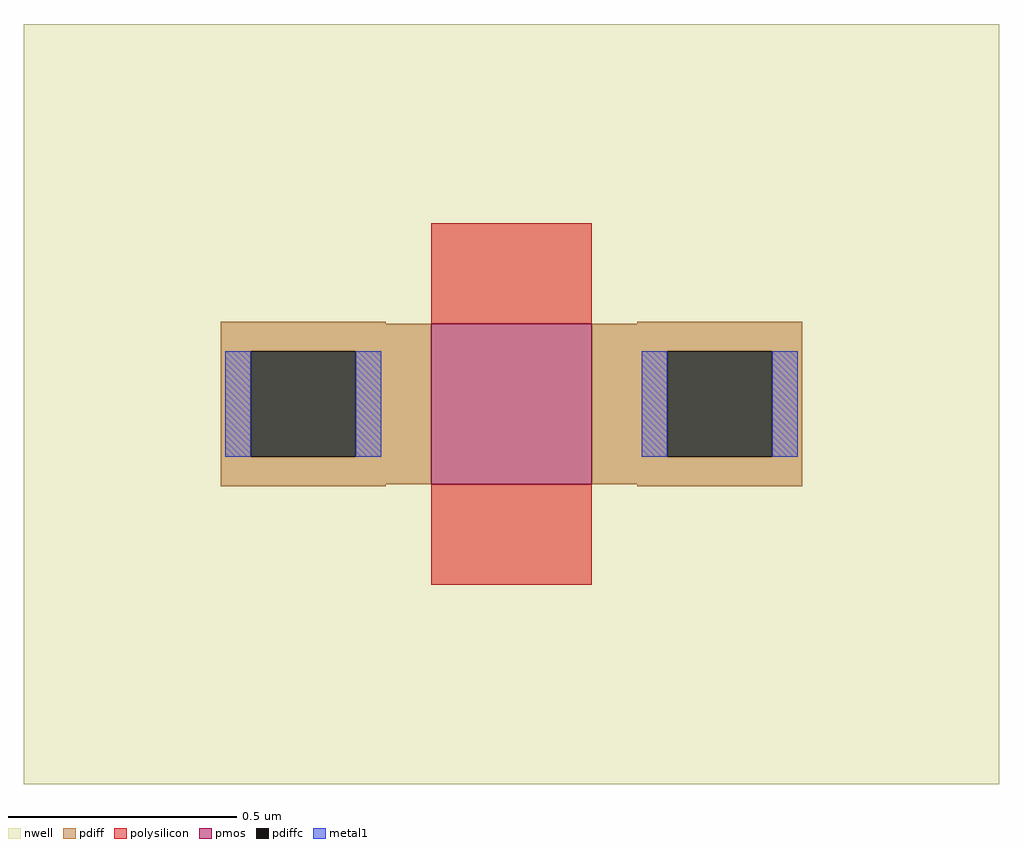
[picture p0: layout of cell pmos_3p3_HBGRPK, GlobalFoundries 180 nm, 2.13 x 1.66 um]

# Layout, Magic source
magic
tech gf180mcuC
magscale 1 10
<< nwell >>
rect -213 -166 213 166
<< pmos >>
rect -35 -35 35 35
<< pdiff >>
rect -127 35 -55 36
rect 55 35 127 36
rect -127 23 -35 35
rect -127 -23 -114 23
rect -68 -23 -35 23
rect -127 -35 -35 -23
rect 35 23 127 35
rect 35 -23 68 23
rect 114 -23 127 23
rect 35 -35 127 -23
rect -127 -36 -55 -35
rect 55 -36 127 -35
<< pdiffc >>
rect -114 -23 -68 23
rect 68 -23 114 23
<< polysilicon >>
rect -35 35 35 79
rect -35 -79 35 -35
<< metal1 >>
rect -125 -23 -114 23
rect -68 -23 -57 23
rect 57 -23 68 23
rect 114 -23 125 23
<< properties >>
string gencell pmos_3p3
string library gf180mcu
string parameters w 0.35 l 0.35 m 1 nf 1 diffcov 100 polycov 100 guard 0 glc 0 grc 0 gtc 0 gbc 0 tbcov 100 rlcov 100 topc 0 botc 0 poverlap 0 doverlap 1 lmin 0.28 wmin 0.22 full_metal 0 compatible {pmos_3p3 pmos_6p0}
<< end >>
